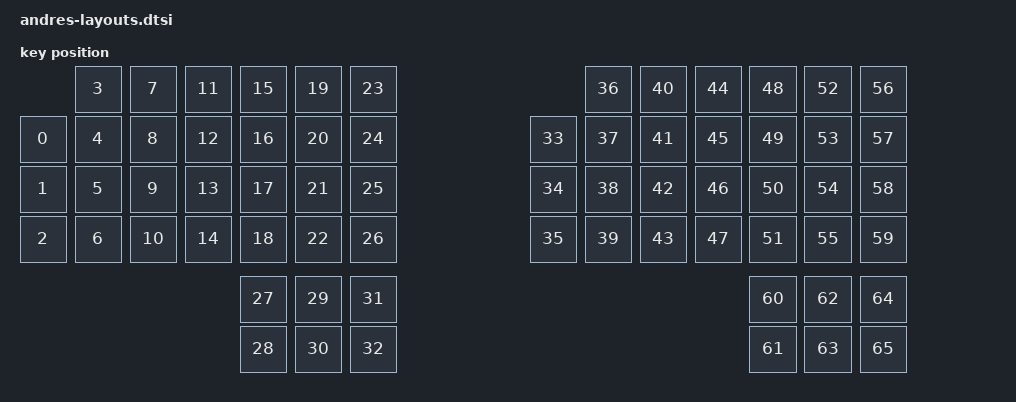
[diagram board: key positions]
#include <physical_layouts.dtsi>

/ {
    andres_physical_layout: andres_physical_layout {
        compatible = "zmk,physical-layout";
        display-name = "Default";

        keys
            = <&key_physical_attrs 100 100    0  100       0     0     0>
            , <&key_physical_attrs 100 100    0  200       0     0     0>
            , <&key_physical_attrs 100 100    0  300       0     0     0>
            , <&key_physical_attrs 100 100  110    0       0     0     0>
            , <&key_physical_attrs 100 100  110  100       0     0     0>
            , <&key_physical_attrs 100 100  110  200       0     0     0>
            , <&key_physical_attrs 100 100  110  300       0     0     0>
            , <&key_physical_attrs 100 100  220    0       0     0     0>
            , <&key_physical_attrs 100 100  220  100       0     0     0>
            , <&key_physical_attrs 100 100  220  200       0     0     0>
            , <&key_physical_attrs 100 100  220  300       0     0     0>
            , <&key_physical_attrs 100 100  330    0       0     0     0>
            , <&key_physical_attrs 100 100  330  100       0     0     0>
            , <&key_physical_attrs 100 100  330  200       0     0     0>
            , <&key_physical_attrs 100 100  330  300       0     0     0>
            , <&key_physical_attrs 100 100  440    0       0     0     0>
            , <&key_physical_attrs 100 100  440  100       0     0     0>
            , <&key_physical_attrs 100 100  440  200       0     0     0>
            , <&key_physical_attrs 100 100  440  300       0     0     0>
            , <&key_physical_attrs 100 100  550    0       0     0     0>
            , <&key_physical_attrs 100 100  550  100       0     0     0>
            , <&key_physical_attrs 100 100  550  200       0     0     0>
            , <&key_physical_attrs 100 100  550  300       0     0     0>
            , <&key_physical_attrs 100 100  660    0       0     0     0>
            , <&key_physical_attrs 100 100  660  100       0     0     0>
            , <&key_physical_attrs 100 100  660  200       0     0     0>
            , <&key_physical_attrs 100 100  660  300       0     0     0>
            , <&key_physical_attrs 100 100  440  420       0     0     0>
            , <&key_physical_attrs 100 100  440  520       0     0     0>
            , <&key_physical_attrs 100 100  550  420       0     0     0>
            , <&key_physical_attrs 100 100  550  520       0     0     0>
            , <&key_physical_attrs 100 100  660  420       0     0     0>
            , <&key_physical_attrs 100 100  660  520       0     0     0>
            , <&key_physical_attrs 100 100 1020  100       0     0     0>
            , <&key_physical_attrs 100 100 1020  200       0     0     0>
            , <&key_physical_attrs 100 100 1020  300       0     0     0>
            , <&key_physical_attrs 100 100 1130    0       0     0     0>
            , <&key_physical_attrs 100 100 1130  100       0     0     0>
            , <&key_physical_attrs 100 100 1130  200       0     0     0>
            , <&key_physical_attrs 100 100 1130  300       0     0     0>
            , <&key_physical_attrs 100 100 1240    0       0     0     0>
            , <&key_physical_attrs 100 100 1240  100       0     0     0>
            , <&key_physical_attrs 100 100 1240  200       0     0     0>
            , <&key_physical_attrs 100 100 1240  300       0     0     0>
            , <&key_physical_attrs 100 100 1350    0       0     0     0>
            , <&key_physical_attrs 100 100 1350  100       0     0     0>
            , <&key_physical_attrs 100 100 1350  200       0     0     0>
            , <&key_physical_attrs 100 100 1350  300       0     0     0>
            , <&key_physical_attrs 100 100 1460    0       0     0     0>
            , <&key_physical_attrs 100 100 1460  100       0     0     0>
            , <&key_physical_attrs 100 100 1460  200       0     0     0>
            , <&key_physical_attrs 100 100 1460  300       0     0     0>
            , <&key_physical_attrs 100 100 1570    0       0     0     0>
            , <&key_physical_attrs 100 100 1570  100       0     0     0>
            , <&key_physical_attrs 100 100 1570  200       0     0     0>
            , <&key_physical_attrs 100 100 1570  300       0     0     0>
            , <&key_physical_attrs 100 100 1680    0       0     0     0>
            , <&key_physical_attrs 100 100 1680  100       0     0     0>
            , <&key_physical_attrs 100 100 1680  200       0     0     0>
            , <&key_physical_attrs 100 100 1680  300       0     0     0>
            , <&key_physical_attrs 100 100 1460  420       0     0     0>
            , <&key_physical_attrs 100 100 1460  520       0     0     0>
            , <&key_physical_attrs 100 100 1570  420       0     0     0>
            , <&key_physical_attrs 100 100 1570  520       0     0     0>
            , <&key_physical_attrs 100 100 1680  420       0     0     0>
            , <&key_physical_attrs 100 100 1680  520       0     0     0>
        ;
    };
};
